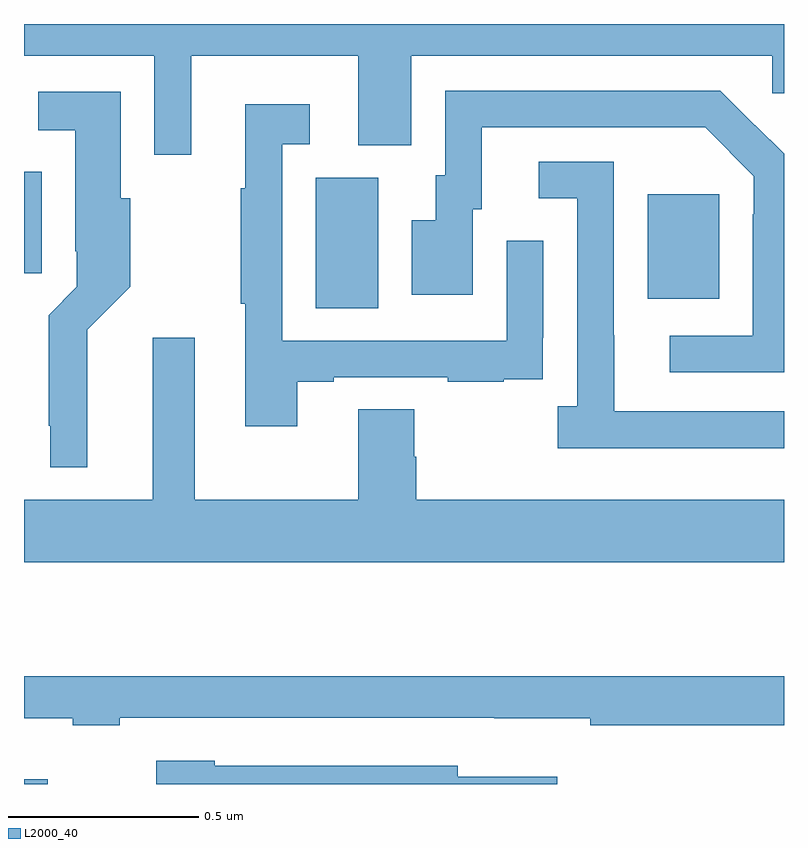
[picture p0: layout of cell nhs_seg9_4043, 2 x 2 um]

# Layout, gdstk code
import gdstk
lib = gdstk.Library(unit=1e-6, precision=1e-09)
def R(c, l, rs):  # rectangles x0, y0, x1, y1
    for r in rs: c.add(gdstk.rectangle(r[:2], r[2:], *l))
def P(c, l, *ps):  # polygons
    for p in ps: c.add(gdstk.Polygon(p, *l))
L2000_40 = (2000, 40)

nhs_seg9_4043 = lib.new_cell('nhs_seg9_4043')
R(nhs_seg9_4043, L2000_40, [(161,1198.5,161.062,1198.513), (161.768,1199.752,161.932,1200.096), (162.641,1199.777,162.829,1200.052), (161,1199.844,161.047,1200.111)])
P(nhs_seg9_4043, L2000_40, [(161,1200.416),(161.343,1200.416),(161.343,1200.156),(161.44,1200.156),(161.44,1200.416),(161.879,1200.416),(161.879,1200.181),(162.019,1200.181),(162.019,1200.416),(162.969,1200.416),(162.969,1200.318),(163,1200.318),(163,1200.5),(161,1200.5)],
  [(163,1200.158),(162.924,1200.234),(162.923,1200.233),(162.832,1200.324),(162.108,1200.324),(162.108,1200.102),(162.083,1200.102),(162.083,1199.983),(162.02,1199.983),(162.02,1199.787),(162.181,1199.787),(162.181,1200.012),(162.205,1200.012),(162.205,1200.228),(162.793,1200.228),(162.921,1200.099),(162.921,1199.999),(162.918,1199.999),(162.918,1199.679),(162.699,1199.679),(162.699,1199.583),(163,1199.583)],
  [(161.167,1199.696),(161.28,1199.809),(161.28,1200.042),(161.254,1200.042),(161.254,1200.322),(161.037,1200.322),(161.037,1200.221),(161.135,1200.221),(161.135,1199.902),(161.139,1199.902),(161.139,1199.808),(161.065,1199.734),(161.065,1199.443),(161.069,1199.443),(161.069,1199.333),(161.167,1199.333)],
  [(161.719,1199.559),(161.815,1199.559),(161.815,1199.571),(162.115,1199.571),(162.115,1199.559),(162.263,1199.559),(162.263,1199.565),(162.365,1199.565),(162.365,1199.674),(162.366,1199.674),(162.366,1199.929),(162.27,1199.929),(162.27,1199.667),(161.679,1199.667),(161.679,1200.183),(161.752,1200.183),(161.752,1200.289),(161.582,1200.289),(161.582,1200.068),(161.571,1200.068),(161.571,1199.764),(161.582,1199.764),(161.582,1199.442),(161.719,1199.442)],
  [(163,1199.481),(162.553,1199.481),(162.553,1199.681),(162.552,1199.681),(162.552,1200.138),(162.354,1200.138),(162.354,1200.042),(162.456,1200.042),(162.456,1199.494),(162.405,1199.494),(162.405,1199.384),(163,1199.384)],
  [(161.339,1199.674),(161.339,1199.248),(161,1199.248),(161,1199.084),(163,1199.084),(163,1199.248),(162.032,1199.248),(162.032,1199.361),(162.027,1199.361),(162.027,1199.486),(161.879,1199.486),(161.879,1199.248),(161.449,1199.248),(161.449,1199.674)],
  [(161.252,1198.674),(162.238,1198.674),(162.238,1198.673),(162.49,1198.673),(162.49,1198.654),(163,1198.654),(163,1198.783),(161,1198.783),(161,1198.673),(161.128,1198.673),(161.128,1198.654),(161.252,1198.654)],
  [(162.403,1198.519),(162.142,1198.519),(162.142,1198.548),(161.502,1198.548),(161.502,1198.561),(161.348,1198.561),(161.348,1198.5),(162.403,1198.5)])

lib.write_gds('nhs_seg9_4043.gds')
